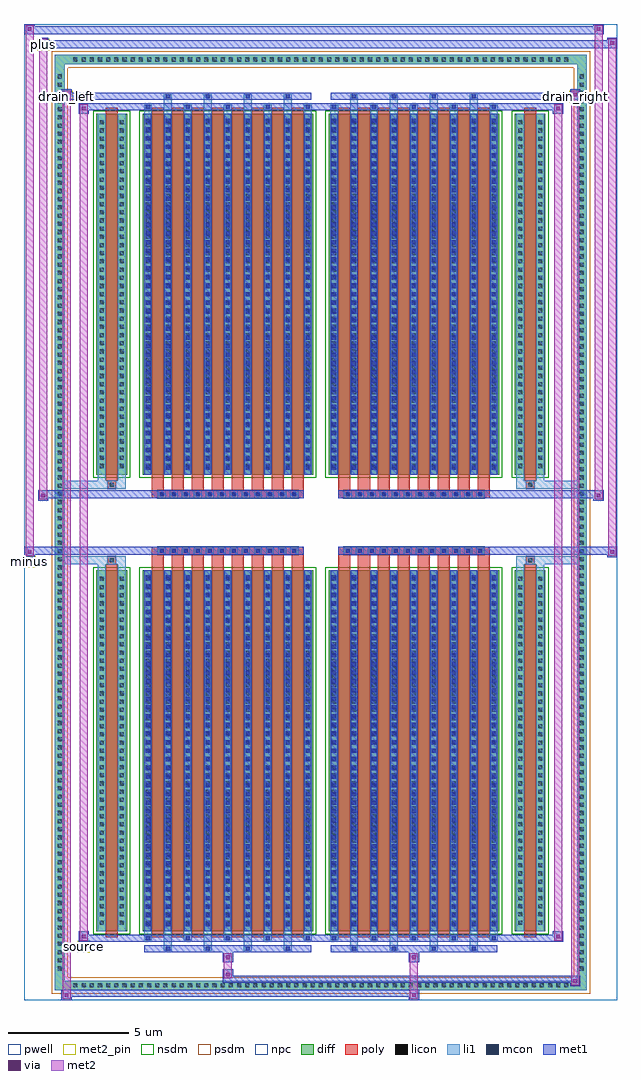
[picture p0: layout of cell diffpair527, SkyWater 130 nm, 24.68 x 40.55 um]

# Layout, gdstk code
import gdstk
lib = gdstk.Library(unit=1e-6, precision=5e-09)
def R(c, l, rs):  # rectangles x0, y0, x1, y1
    for r in rs: c.add(gdstk.rectangle(r[:2], r[2:], *l))
def A(c, l, x, y, w, h, nx, ny, dx, dy):  # array of equal rectangles
    R(c, l, [(x+i*dx, y+j*dy, x+i*dx+w, y+j*dy+h) for i in range(nx) for j in range(ny)])
def P(c, l, *ps):  # polygons
    for p in ps: c.add(gdstk.Polygon(p, *l))
pwell = (64, 44)
diff = (65, 20)
poly = (66, 20)
licon = (66, 44)
li1 = (67, 20)
mcon = (67, 44)
met1 = (68, 20)
via = (68, 44)
met2_pin = (69, 16)
met2 = (69, 20)
nsdm = (93, 44)
psdm = (94, 20)
npc = (95, 20)

diffpair527 = lib.new_cell('diffpair527')
R(diffpair527, pwell, [(-12.32,-19.84,12.32,20.71), (-9.64,-18.03,-0.01,-0.805), (0.01,-18.03,9.64,-0.805), (-9.64,0.805,-0.01,18.03), (0.01,0.805,9.64,18.03)])
A(diffpair527, diff, -10.405, -19.44, 0.41, 0.41, 61, 2, 0.34, 38.47)
A(diffpair527, diff, -11.05, -18.735, 0.41, 0.41, 1, 110, 0, 0.34)
A(diffpair527, diff, 10.64, -18.735, 0.41, 0.41, 1, 110, 0, 0.34)
R(diffpair527, diff, [(-10.405,-19.44,10.405,-19.03), (-11.05,-18.735,-10.64,18.735), (10.64,-18.735,11.05,18.735), (-9.33,-16.985,-8.05,-1.985), (-7.41,-16.985,-0.32,-1.985), (0.32,-16.985,7.41,-1.985), (8.05,-16.985,9.33,-1.985), (-9.33,1.985,-8.05,16.985), (-7.41,1.985,-0.32,16.985), (0.32,1.985,7.41,16.985), (8.05,1.985,9.33,16.985), (-10.405,19.03,10.405,19.44)])
P(diffpair527, diff, [(11.05,19.44),(-11.05,19.44),(-11.05,-19.03),(-10.64,-19.03),(-10.64,19.03),(10.64,19.03),(10.64,-19.03),(-10.64,-19.03),(-11.05,-19.03),(-11.05,-19.44),(11.05,-19.44)])
A(diffpair527, poly, -7.02, -17.235, 0.5, 15.5, 8, 2, 0.83, 18.97)
A(diffpair527, poly, 0.71, -17.235, 0.5, 15.5, 8, 2, 0.83, 18.97)
A(diffpair527, poly, -7.02, -1.735, 0.5, 0.4, 8, 2, 0.83, 3.07)
A(diffpair527, poly, 0.71, -1.735, 0.5, 0.4, 8, 2, 0.83, 3.07)
A(diffpair527, poly, -6.78, -1.335, 0.33, 0.33, 12, 2, 0.5, 2.34)
A(diffpair527, poly, 0.95, -1.335, 0.33, 0.33, 12, 2, 0.5, 2.34)
R(diffpair527, poly, [(-8.94,-17.235,-8.44,-1.735), (8.44,-17.235,8.94,-1.735), (-8.855,-1.735,-8.525,-1.405), (-8.855,-1.735,-8.525,-1.405), (8.525,-1.735,8.855,-1.405), (8.525,-1.735,8.855,-1.405), (-7.02,-1.335,-0.71,-1.005), (0.71,-1.335,7.02,-1.005), (-7.02,1.005,-0.71,1.335), (0.71,1.005,7.02,1.335), (-8.855,1.405,-8.525,1.735), (-8.855,1.405,-8.525,1.735), (8.525,1.405,8.855,1.735), (8.525,1.405,8.855,1.735), (-8.94,1.735,-8.44,17.235), (8.44,1.735,8.94,17.235)])
A(diffpair527, licon, -10.285, -19.32, 0.17, 0.17, 61, 2, 0.34, 38.47)
A(diffpair527, licon, -10.93, -18.615, 0.17, 0.17, 1, 110, 0, 0.34)
A(diffpair527, licon, 10.76, -18.615, 0.17, 0.17, 1, 110, 0, 0.34)
A(diffpair527, licon, -9.19, -16.71, 0.17, 0.17, 1, 43, 0, 0.34)
A(diffpair527, licon, -8.36, -16.71, 0.17, 0.17, 1, 43, 0, 0.34)
A(diffpair527, licon, -7.27, -16.71, 0.17, 0.17, 9, 43, 0.83, 0.34)
A(diffpair527, licon, 0.46, -16.71, 0.17, 0.17, 9, 43, 0.83, 0.34)
A(diffpair527, licon, 8.19, -16.71, 0.17, 0.17, 1, 43, 0, 0.34)
A(diffpair527, licon, 9.02, -16.71, 0.17, 0.17, 1, 43, 0, 0.34)
A(diffpair527, licon, -6.7, -1.255, 0.17, 0.17, 12, 2, 0.5, 2.34)
A(diffpair527, licon, 1.03, -1.255, 0.17, 0.17, 12, 2, 0.5, 2.34)
A(diffpair527, licon, -9.19, 2.26, 0.17, 0.17, 1, 43, 0, 0.34)
A(diffpair527, licon, -8.36, 2.26, 0.17, 0.17, 1, 43, 0, 0.34)
A(diffpair527, licon, -7.27, 2.26, 0.17, 0.17, 9, 43, 0.83, 0.34)
A(diffpair527, licon, 0.46, 2.26, 0.17, 0.17, 9, 43, 0.83, 0.34)
A(diffpair527, licon, 8.19, 2.26, 0.17, 0.17, 1, 43, 0, 0.34)
A(diffpair527, licon, 9.02, 2.26, 0.17, 0.17, 1, 43, 0, 0.34)
R(diffpair527, licon, [(-8.775,-1.655,-8.605,-1.485), (8.605,-1.655,8.775,-1.485), (-8.775,1.485,-8.605,1.655), (8.605,1.485,8.775,1.655)])
A(diffpair527, li1, -10.365, -19.4, 0.33, 0.33, 61, 2, 0.34, 38.47)
A(diffpair527, li1, -11.01, -18.695, 0.33, 0.33, 1, 110, 0, 0.34)
A(diffpair527, li1, 10.68, -18.695, 0.33, 0.33, 1, 110, 0, 0.34)
A(diffpair527, li1, -6.52, -17.79, 0.33, 0.805, 4, 2, 1.66, 34.775)
A(diffpair527, li1, -6.44, -17.79, 0.17, 0.17, 4, 2, 1.66, 35.41)
A(diffpair527, li1, 1.21, -17.79, 0.33, 0.805, 4, 2, 1.66, 34.775)
A(diffpair527, li1, 1.29, -17.79, 0.17, 0.17, 4, 2, 1.66, 35.41)
A(diffpair527, li1, -7.35, -17.36, 0.33, 0.375, 5, 2, 1.66, 34.345)
A(diffpair527, li1, -7.27, -17.36, 0.17, 0.17, 5, 2, 1.66, 34.55)
A(diffpair527, li1, 0.38, -17.36, 0.33, 0.375, 5, 2, 1.66, 34.345)
A(diffpair527, li1, 0.46, -17.36, 0.17, 0.17, 5, 2, 1.66, 34.55)
A(diffpair527, li1, -7.35, -16.985, 0.33, 15, 9, 2, 0.83, 18.97)
A(diffpair527, li1, 0.38, -16.985, 0.33, 15, 9, 2, 0.83, 18.97)
A(diffpair527, li1, -9.27, -16.79, 0.33, 0.33, 1, 43, 0, 0.34)
A(diffpair527, li1, -8.44, -16.79, 0.33, 0.33, 1, 43, 0, 0.34)
A(diffpair527, li1, -7.35, -16.79, 0.33, 0.33, 9, 43, 0.83, 0.34)
A(diffpair527, li1, 0.38, -16.79, 0.33, 0.33, 9, 43, 0.83, 0.34)
A(diffpair527, li1, 8.11, -16.79, 0.33, 0.33, 1, 43, 0, 0.34)
A(diffpair527, li1, 8.94, -16.79, 0.33, 0.33, 1, 43, 0, 0.34)
A(diffpair527, li1, -7.27, -16.77, 0.17, 0.17, 9, 41, 0.83, 0.36)
A(diffpair527, li1, -7.27, -16.77, 0.17, 14.57, 9, 2, 0.83, 18.97)
A(diffpair527, li1, 0.46, -16.77, 0.17, 0.17, 9, 41, 0.83, 0.36)
A(diffpair527, li1, 0.46, -16.77, 0.17, 14.57, 9, 2, 0.83, 18.97)
A(diffpair527, li1, -6.78, -1.335, 0.33, 0.33, 12, 2, 0.5, 2.34)
A(diffpair527, li1, 0.95, -1.335, 0.33, 0.33, 12, 2, 0.5, 2.34)
A(diffpair527, li1, -9.27, 2.18, 0.33, 0.33, 1, 43, 0, 0.34)
A(diffpair527, li1, -8.44, 2.18, 0.33, 0.33, 1, 43, 0, 0.34)
A(diffpair527, li1, -7.35, 2.18, 0.33, 0.33, 9, 43, 0.83, 0.34)
A(diffpair527, li1, 0.38, 2.18, 0.33, 0.33, 9, 43, 0.83, 0.34)
A(diffpair527, li1, 8.11, 2.18, 0.33, 0.33, 1, 43, 0, 0.34)
A(diffpair527, li1, 8.94, 2.18, 0.33, 0.33, 1, 43, 0, 0.34)
A(diffpair527, li1, -7.27, 2.2, 0.17, 0.17, 9, 41, 0.83, 0.36)
A(diffpair527, li1, 0.46, 2.2, 0.17, 0.17, 9, 41, 0.83, 0.36)
R(diffpair527, li1, [(-11.05,-19.44,-10.64,-19.03), (-11.05,-19.44,-10.64,-19.03), (-10.64,-19.44,10.64,-19.03), (10.64,-19.44,11.05,-19.03), (10.64,-19.44,11.05,-19.03), (-11.05,-19.03,-10.64,19.03), (10.64,-19.03,11.05,19.03), (-9.27,-16.985,-8.94,-1.985), (-8.44,-16.985,-8.11,-1.985), (8.11,-16.985,8.44,-1.985), (8.94,-16.985,9.27,-1.985), (-9.27,-1.985,-8.94,-1.405), (-8.44,-1.985,-8.11,-1.405), (8.11,-1.985,8.44,-1.405), (8.94,-1.985,9.27,-1.405), (-11.05,-1.735,-8.855,-1.405), (-9.27,-1.735,-8.855,-1.405), (-8.855,-1.735,-8.525,-1.405), (-8.525,-1.735,-8.11,-1.405), (8.11,-1.735,8.525,-1.405), (8.525,-1.735,8.855,-1.405), (8.525,-1.735,11.05,-1.405), (8.855,-1.735,9.27,-1.405), (-11.05,1.405,-8.855,1.735), (-9.27,1.405,-8.855,1.735), (-9.27,1.405,-8.94,1.985), (-8.855,1.405,-8.525,1.735), (-8.525,1.405,-8.11,1.735), (-8.44,1.405,-8.11,1.985), (8.11,1.405,8.525,1.735), (8.11,1.405,8.44,1.985), (8.525,1.405,8.855,1.735), (8.525,1.405,11.05,1.735), (8.855,1.405,9.27,1.735), (8.94,1.405,9.27,1.985), (-9.27,1.985,-8.94,16.985), (-8.44,1.985,-8.11,16.985), (8.11,1.985,8.44,16.985), (8.94,1.985,9.27,16.985), (-11.05,19.03,-10.64,19.44), (-11.05,19.03,-10.64,19.44), (-10.64,19.03,10.64,19.44), (10.64,19.03,11.05,19.44), (10.64,19.03,11.05,19.44)])
A(diffpair527, mcon, -6.44, -17.79, 0.17, 0.17, 4, 2, 1.66, 35.41)
A(diffpair527, mcon, 1.29, -17.79, 0.17, 0.17, 4, 2, 1.66, 35.41)
A(diffpair527, mcon, -7.27, -17.36, 0.17, 0.17, 5, 2, 1.66, 34.55)
A(diffpair527, mcon, 0.46, -17.36, 0.17, 0.17, 5, 2, 1.66, 34.55)
A(diffpair527, mcon, -7.27, -16.77, 0.17, 0.17, 9, 41, 0.83, 0.36)
A(diffpair527, mcon, 0.46, -16.77, 0.17, 0.17, 9, 41, 0.83, 0.36)
A(diffpair527, mcon, -6.7, -1.255, 0.17, 0.17, 12, 2, 0.5, 2.34)
A(diffpair527, mcon, 1.03, -1.255, 0.17, 0.17, 12, 2, 0.5, 2.34)
A(diffpair527, mcon, -7.27, 2.2, 0.17, 0.17, 9, 41, 0.83, 0.36)
A(diffpair527, mcon, 0.46, 2.2, 0.17, 0.17, 9, 41, 0.83, 0.36)
A(diffpair527, met1, -6.5, -17.85, 0.29, 0.29, 4, 2, 1.66, 35.41)
A(diffpair527, met1, 1.23, -17.85, 0.29, 0.29, 4, 2, 1.66, 35.41)
A(diffpair527, met1, -7.33, -17.42, 0.29, 0.29, 5, 2, 1.66, 34.55)
A(diffpair527, met1, 0.4, -17.42, 0.29, 0.29, 5, 2, 1.66, 34.55)
A(diffpair527, met1, -7.33, -16.985, 0.29, 15, 9, 2, 0.83, 18.97)
A(diffpair527, met1, 0.4, -16.985, 0.29, 15, 9, 2, 0.83, 18.97)
A(diffpair527, met1, -7.33, -16.83, 0.29, 0.29, 9, 41, 0.83, 0.36)
A(diffpair527, met1, 0.4, -16.83, 0.29, 0.29, 9, 41, 0.83, 0.36)
A(diffpair527, met1, -6.76, -1.315, 0.29, 0.29, 12, 2, 0.5, 2.34)
A(diffpair527, met1, 0.97, -1.315, 0.29, 0.29, 12, 2, 0.5, 2.34)
A(diffpair527, met1, -7.33, 2.14, 0.29, 0.29, 9, 41, 0.83, 0.36)
A(diffpair527, met1, 0.4, 2.14, 0.29, 0.29, 9, 41, 0.83, 0.36)
R(diffpair527, met1, [(-10.78,-19.84,-10.35,-19.41), (3.65,-19.84,4.08,-19.41), (-10.78,-19.7,4.08,-19.41), (10.35,-19.27,10.78,-18.84), (-4.08,-19.13,10.78,-18.84), (-4.08,-18.99,-3.65,-18.56), (-4.08,-18.28,-3.65,-17.85), (3.65,-18.28,4.08,-17.85), (-7.33,-17.85,-0.4,-17.56), (0.4,-17.85,7.33,-17.56), (-10.07,-17.42,-9.64,-16.99), (-10.07,-17.42,-7.33,-17.13), (-7.33,-17.42,-0.4,-17.13), (-0.4,-17.42,0.4,-17.13), (0.4,-17.42,7.33,-17.13), (7.33,-17.42,10.07,-17.13), (9.64,-17.42,10.07,-16.99), (-12.32,-1.435,-11.89,-1.005), (11.89,-1.435,12.32,-1.005), (-12.32,-1.335,-0.71,-1.005), (-7.02,-1.335,-0.71,-1.005), (0.71,-1.335,7.02,-1.005), (0.71,-1.335,12.32,-1.005), (-11.75,0.905,-11.32,1.335), (11.32,0.905,11.75,1.335), (-11.75,1.005,-7.02,1.335), (-7.02,1.005,-0.71,1.335), (0.71,1.005,7.02,1.335), (7.02,1.005,11.75,1.335), (-10.07,16.99,-9.64,17.42), (9.64,16.99,10.07,17.42), (-10.07,17.13,-7.33,17.42), (-7.33,17.13,-0.4,17.42), (-0.4,17.13,0.4,17.42), (0.4,17.13,7.33,17.42), (7.33,17.13,10.07,17.42), (-10.78,17.56,-10.35,17.99), (-10.78,17.56,-7.33,17.85), (-7.33,17.56,-0.4,17.85), (0.4,17.56,7.33,17.85), (7.33,17.56,10.78,17.85), (10.35,17.56,10.78,17.99), (-11.75,19.71,-11.32,20.14), (-11.75,19.71,-9.64,20.04), (-9.64,19.71,9.64,20.04), (9.64,19.71,12.32,20.04), (11.89,19.71,12.32,20.14), (-12.32,20.28,-11.89,20.71), (-12.32,20.28,-9.64,20.61), (-9.64,20.28,9.64,20.61), (9.64,20.28,11.75,20.61), (11.32,20.28,11.75,20.71)])
R(diffpair527, via, [(-10.64,-19.7,-10.49,-19.55), (3.79,-19.7,3.94,-19.55), (10.49,-19.13,10.64,-18.98), (-3.94,-18.85,-3.79,-18.7), (-3.94,-18.14,-3.79,-17.99), (3.79,-18.14,3.94,-17.99), (-9.93,-17.28,-9.78,-17.13), (9.78,-17.28,9.93,-17.13), (-12.18,-1.295,-12.03,-1.145), (12.03,-1.295,12.18,-1.145), (-11.61,1.045,-11.46,1.195), (11.46,1.045,11.61,1.195), (-9.93,17.13,-9.78,17.28), (9.78,17.13,9.93,17.28), (-10.64,17.7,-10.49,17.85), (10.49,17.7,10.64,17.85), (-11.61,19.85,-11.46,20), (12.03,19.85,12.18,20), (-12.18,20.42,-12.03,20.57), (11.46,20.42,11.61,20.57)])
R(diffpair527, met2_pin, [(-10.105,-17.87,-9.605,-17.37), (-12.355,-1.885,-11.855,-1.385), (-10.815,17.44,-10.315,17.94), (10.315,17.44,10.815,17.94), (-11.785,19.59,-11.285,20.09)])
R(diffpair527, met2, [(-10.73,-19.79,-10.4,-19.46), (-10.73,-19.79,-10.4,17.94), (3.7,-19.79,4.03,-19.46), (3.7,-19.46,4.03,-18.23), (10.4,-19.22,10.73,-18.89), (10.4,-19.22,10.73,17.94), (-4.03,-18.94,-3.7,-18.61), (-4.03,-18.61,-3.7,-18.23), (-4.03,-18.23,-3.7,-17.9), (3.7,-18.23,4.03,-17.9), (-10.02,-17.37,-9.69,-17.04), (-10.02,-17.37,-9.69,17.37), (9.69,-17.37,10.02,-17.04), (9.69,-17.37,10.02,17.37), (-12.27,-1.385,-11.94,-1.055), (-12.27,-1.385,-11.94,20.66), (11.94,-1.385,12.27,-1.055), (11.94,-1.385,12.27,20.09), (-11.7,0.955,-11.37,1.285), (-11.7,0.955,-11.37,20.09), (11.37,0.955,11.7,1.285), (11.37,0.955,11.7,20.66), (-10.02,17.04,-9.69,17.37), (9.69,17.04,10.02,17.37), (-10.73,17.61,-10.4,17.94), (10.4,17.61,10.73,17.94), (-11.7,19.76,-11.37,20.09), (11.94,19.76,12.27,20.09), (-12.27,20.33,-11.94,20.66), (11.37,20.33,11.7,20.66)])
P(diffpair527, met2, [(12.27,-1.385),(12.27,-1.385),(12.27,-1.055),(12.27,-1.055)],
  [(12.27,19.76),(12.27,19.76),(12.27,20.09),(12.27,20.09)],
  [(-11.94,-1.385),(-11.94,-1.385),(-11.94,-1.055),(-11.94,-1.055)],
  [(-11.94,20.33),(-11.94,20.33),(-11.94,20.66),(-11.94,20.66)],
  [(11.7,0.955),(11.7,0.955),(11.7,1.285),(11.7,1.285)],
  [(11.7,20.33),(11.7,20.33),(11.7,20.66),(11.7,20.66)],
  [(-11.37,0.955),(-11.37,0.955),(-11.37,1.285),(-11.37,1.285)],
  [(-11.37,19.76),(-11.37,19.76),(-11.37,20.09),(-11.37,20.09)],
  [(-10.4,-19.79),(-10.4,-19.79),(-10.4,-19.46),(-10.4,-19.46)],
  [(-10.4,17.61),(-10.4,17.61),(-10.4,17.94),(-10.4,17.94)],
  [(10.73,-19.22),(10.73,-19.22),(10.73,-18.89),(10.73,-18.89)],
  [(10.73,17.61),(10.73,17.61),(10.73,17.94),(10.73,17.94)],
  [(-9.69,-17.37),(-9.69,-17.37),(-9.69,-17.04),(-9.69,-17.04)],
  [(-9.69,17.04),(-9.69,17.04),(-9.69,17.37),(-9.69,17.37)],
  [(10.02,-17.37),(10.02,-17.37),(10.02,-17.04),(10.02,-17.04)],
  [(10.02,17.04),(10.02,17.04),(10.02,17.37),(10.02,17.37)])
R(diffpair527, nsdm, [(-9.46,-17.115,-7.92,-1.855), (-7.54,-17.115,-0.19,-1.855), (0.19,-17.115,7.54,-1.855), (7.92,-17.115,9.46,-1.855), (-9.46,1.855,-7.92,17.115), (-7.54,1.855,-0.19,17.115), (0.19,1.855,7.54,17.115), (7.92,1.855,9.46,17.115)])
P(diffpair527, psdm, [(11.18,19.57),(-11.18,19.57),(-11.18,-18.9),(-10.51,-18.9),(-10.51,18.9),(10.51,18.9),(10.51,-18.9),(-10.51,-18.9),(-11.18,-18.9),(-11.18,-19.57),(11.18,-19.57)])
A(diffpair527, npc, -6.8, -1.355, 0.37, 0.37, 12, 2, 0.5, 2.34)
A(diffpair527, npc, 0.93, -1.355, 0.37, 0.37, 12, 2, 0.5, 2.34)
R(diffpair527, npc, [(-8.875,-1.755,-8.505,-1.385), (8.505,-1.755,8.875,-1.385), (-6.8,-1.355,-5.93,-0.985), (-6.8,-1.355,-5.93,-0.985), (-6.3,-1.355,-5.43,-0.985), (-6.3,-1.355,-5.43,-0.985), (-5.8,-1.355,-4.93,-0.985), (-5.8,-1.355,-4.93,-0.985), (-5.3,-1.355,-4.43,-0.985), (-5.3,-1.355,-4.43,-0.985), (-4.8,-1.355,-3.93,-0.985), (-4.8,-1.355,-3.93,-0.985), (-4.3,-1.355,-3.43,-0.985), (-4.3,-1.355,-3.43,-0.985), (-3.8,-1.355,-2.93,-0.985), (-3.8,-1.355,-2.93,-0.985), (-3.3,-1.355,-2.43,-0.985), (-3.3,-1.355,-2.43,-0.985), (-2.8,-1.355,-1.93,-0.985), (-2.8,-1.355,-1.93,-0.985), (-2.3,-1.355,-1.43,-0.985), (-2.3,-1.355,-1.43,-0.985), (-1.8,-1.355,-0.93,-0.985), (-1.8,-1.355,-0.93,-0.985), (0.93,-1.355,1.8,-0.985), (0.93,-1.355,1.8,-0.985), (1.43,-1.355,2.3,-0.985), (1.43,-1.355,2.3,-0.985), (1.93,-1.355,2.8,-0.985), (1.93,-1.355,2.8,-0.985), (2.43,-1.355,3.3,-0.985), (2.43,-1.355,3.3,-0.985), (2.93,-1.355,3.8,-0.985), (2.93,-1.355,3.8,-0.985), (3.43,-1.355,4.3,-0.985), (3.43,-1.355,4.3,-0.985), (3.93,-1.355,4.8,-0.985), (3.93,-1.355,4.8,-0.985), (4.43,-1.355,5.3,-0.985), (4.43,-1.355,5.3,-0.985), (4.93,-1.355,5.8,-0.985), (4.93,-1.355,5.8,-0.985), (5.43,-1.355,6.3,-0.985), (5.43,-1.355,6.3,-0.985), (5.93,-1.355,6.8,-0.985), (5.93,-1.355,6.8,-0.985), (-6.8,0.985,-5.93,1.355), (-6.8,0.985,-5.93,1.355), (-6.3,0.985,-5.43,1.355), (-6.3,0.985,-5.43,1.355), (-5.8,0.985,-4.93,1.355), (-5.8,0.985,-4.93,1.355), (-5.3,0.985,-4.43,1.355), (-5.3,0.985,-4.43,1.355), (-4.8,0.985,-3.93,1.355), (-4.8,0.985,-3.93,1.355), (-4.3,0.985,-3.43,1.355), (-4.3,0.985,-3.43,1.355), (-3.8,0.985,-2.93,1.355), (-3.8,0.985,-2.93,1.355), (-3.3,0.985,-2.43,1.355), (-3.3,0.985,-2.43,1.355), (-2.8,0.985,-1.93,1.355), (-2.8,0.985,-1.93,1.355), (-2.3,0.985,-1.43,1.355), (-2.3,0.985,-1.43,1.355), (-1.8,0.985,-0.93,1.355), (-1.8,0.985,-0.93,1.355), (0.93,0.985,1.8,1.355), (0.93,0.985,1.8,1.355), (1.43,0.985,2.3,1.355), (1.43,0.985,2.3,1.355), (1.93,0.985,2.8,1.355), (1.93,0.985,2.8,1.355), (2.43,0.985,3.3,1.355), (2.43,0.985,3.3,1.355), (2.93,0.985,3.8,1.355), (2.93,0.985,3.8,1.355), (3.43,0.985,4.3,1.355), (3.43,0.985,4.3,1.355), (3.93,0.985,4.8,1.355), (3.93,0.985,4.8,1.355), (4.43,0.985,5.3,1.355), (4.43,0.985,5.3,1.355), (4.93,0.985,5.8,1.355), (4.93,0.985,5.8,1.355), (5.43,0.985,6.3,1.355), (5.43,0.985,6.3,1.355), (5.93,0.985,6.8,1.355), (5.93,0.985,6.8,1.355), (-8.875,1.385,-8.505,1.755), (8.505,1.385,8.875,1.755)])
diffpair527.add(gdstk.Label('minus', (-12.105,-1.635), layer=69, texttype=5))
diffpair527.add(gdstk.Label('drain_right', (10.565,17.69), layer=69, texttype=5))
diffpair527.add(gdstk.Label('drain_left', (-10.565,17.69), layer=69, texttype=5))
diffpair527.add(gdstk.Label('source', (-9.855,-17.62), layer=69, texttype=5))
diffpair527.add(gdstk.Label('plus', (-11.535,19.84), layer=69, texttype=5))

lib.write_gds('diffpair527.gds')
